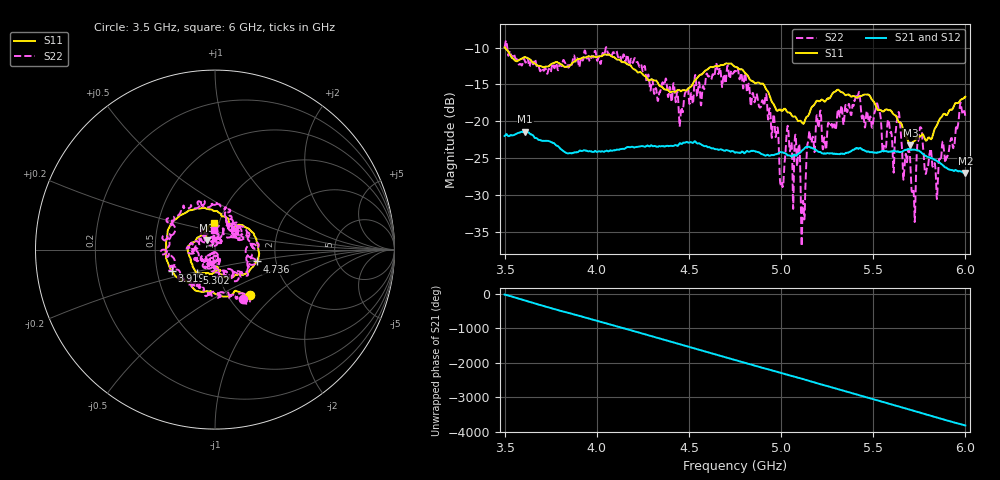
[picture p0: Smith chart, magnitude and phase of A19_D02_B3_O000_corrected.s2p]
! Created with skrf 1.9.0 (http://scikit-rf.org).
# Hz S RI R 50.0
!freq ReS11 ImS11 ReS21 ImS21 ReS12 ImS12 ReS22 ImS22
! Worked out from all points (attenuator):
!   1601 points, 3.5 GHz to 6 GHz, reference 50 ohm
!   highest |S21| = -21.42 dB at 3.611 GHz (marker M1); lowest = -27.0 dB at 6 GHz (marker M2)
!   lowest |S11| = -23.2 dB at 5.702 GHz (marker M3), VSWR 1.15, Z = 45.4 + j4.68 ohm
!   |S11| at or under -10 dB: 3.501 GHz to end of sweep
!   |S22| runs from -37.0 to -9.0 dB; largest |S21 - S12| = 0.00096
!   S11 on the Smith chart (normalised r, x): 3.5 GHz: 1.27, -0.71; 3.919 GHz: 0.60, -0.15; 4.736 GHz: 1.59, -0.22; 5.302 GHz: 0.80, -0.21; 6 GHz: 0.94, +0.28
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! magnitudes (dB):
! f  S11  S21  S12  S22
! 3.5 GHz  -10.0  -22.0  -22.0  -10.0
! 3.611 GHz  -11.3  -21.4  -21.4  -11.9
! 3.917 GHz  -11.4  -24.0  -24.0  -11.3
! 3.919 GHz  -11.4  -24.0  -24.0  -11.5
! 4.334 GHz  -15.0  -23.4  -23.4  -17.0
! 4.736 GHz  -12.3  -24.0  -24.1  -13.5
! 4.75 GHz  -12.6  -24.3  -24.2  -13.2
! 4.927 GHz  -15.9  -24.6  -24.6  -18.7
! 5.003 GHz  -18.6  -24.2  -24.2  -28.6
! 5.033 GHz  -18.7  -24.6  -24.5  -21.0
! 5.088 GHz  -19.8  -24.6  -24.5  -26.1
! 5.119 GHz  -20.3  -23.9  -23.8  -30.8
! 5.167 GHz  -18.0  -23.6  -23.6  -22.7
! 5.302 GHz  -15.8  -24.4  -24.4  -20.1
! 5.416 GHz  -16.7  -23.7  -23.7  -16.9
! 5.584 GHz  -18.5  -24.1  -24.1  -19.9
! 5.638 GHz  -20.1  -24.1  -24.1  -18.7
! 5.702 GHz  -23.2  -23.9  -23.9  -25.9
! 5.72 GHz  -22.7  -23.9  -23.8  -30.0
! 5.755 GHz  -22.1  -24.2  -24.1  -20.8
! 5.848 GHz  -20.4  -25.5  -25.4  -29.4
! 6 GHz  -16.7  -27.0  -27.0  -19.4
